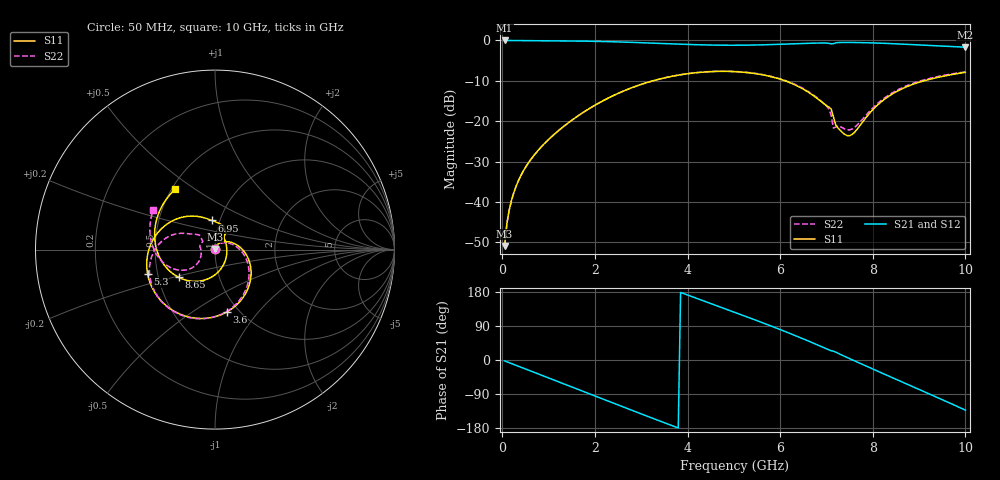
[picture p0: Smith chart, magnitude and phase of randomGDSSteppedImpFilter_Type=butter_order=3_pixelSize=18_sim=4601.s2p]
! freq	dB(S11)	phase(S11)	dB(S12)	phase(S12)
!  dB(S21)	phase(S21)	dB(S22)	phase(S22)
!S-par simulation data
#  GHz  S  DB  R 50
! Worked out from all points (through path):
!   200 points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, 50 MHz to 10 GHz, reference 50 ohm
!   highest |S21| = 0.00 dB at 50 MHz (marker M1); lowest = -1.7 dB at 10 GHz (marker M2)
!   group delay of S21, straight-line fit = 135 ps
!   lowest |S11| = -50.9 dB at 50 MHz (marker M3), VSWR 1.01, Z = 50 + j0.282 ohm
!   |S11| at or under -10 dB: start of sweep to 3.252 GHz; 6.106 GHz to 9.106 GHz (3 GHz wide, 39.4 % of centre)
!   |S22| runs from -51.0 to -7.6 dB; largest |S21 - S12| = 0
!   S11 on the Smith chart (normalised r, x): 50 MHz: 1.00, +0.01; 3.6 GHz: 0.88, -0.70; 5.3 GHz: 0.44, -0.14; 6.95 GHz: 0.92, +0.31; 8.65 GHz: 0.64, -0.21; 10 GHz: 0.52, +0.42
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0.05  -50.93 82.6  -0.00 -2.4  -0.00 -2.4  -50.96 82.6
0.1  -45.29 80.8  -0.01 -4.8  -0.01 -4.8  -45.29 80.3
0.2  -39.57 77.9  -0.02 -9.5  -0.02 -9.5  -39.56 76.6
0.45  -32.43 68.9  -0.03 -21.3  -0.03 -21.3  -32.43 66.0
1.15  -22.96 38.5  -0.09 -54.4  -0.09 -54.4  -22.97 32.8
1.75  -17.80 10.3  -0.17 -82.9  -0.17 -82.9  -17.81 4.2
2.5  -13.11 -26.0  -0.36 -118.7  -0.36 -118.7  -13.12 -31.0
3.4  -9.55 -69.7  -0.73 -161.0  -0.73 -161.0  -9.55 -72.0
3.6  -9.03 -79.2  -0.82 -170.2  -0.82 -170.2  -9.02 -80.8
4.3  -7.87 -112.3  -1.09 158.0  -1.09 158.0  -7.85 -110.8
5.05  -7.75 -147.9  -1.19 124.3  -1.19 124.3  -7.70 -141.8
5.3  -7.98 -160.2  -1.16 113.0  -1.16 113.0  -7.93 -152.0
6.05  -9.78 160.4  -0.93 77.9  -0.93 77.9  -9.68 178.1
6.7  -13.52 118.4  -0.67 45.4  -0.67 45.4  -13.36 155.1
6.95  -15.73 96.4  -0.63 32.1  -0.63 32.1  -15.67 148.0
7.05  -16.50 83.2  -0.71 26.6  -0.71 26.6  -16.95 142.6
7.15  -18.95 57.1  -0.80 23.4  -0.80 23.4  -21.71 145.4
7.5  -23.58 -2.0  -0.50 3.6  -0.50 3.6  -22.15 -170.3
8.35  -13.78 -120.3  -0.76 -42.8  -0.76 -42.8  -13.49 -147.1
8.65  -11.88 -142.8  -0.92 -58.9  -0.92 -58.9  -11.62 -156.9
9.3  -9.43 172.0  -1.28 -93.9  -1.28 -93.9  -9.21 177.5
10  -7.90 123.5  -1.68 -132.3  -1.68 -132.3  -7.78 147.1
